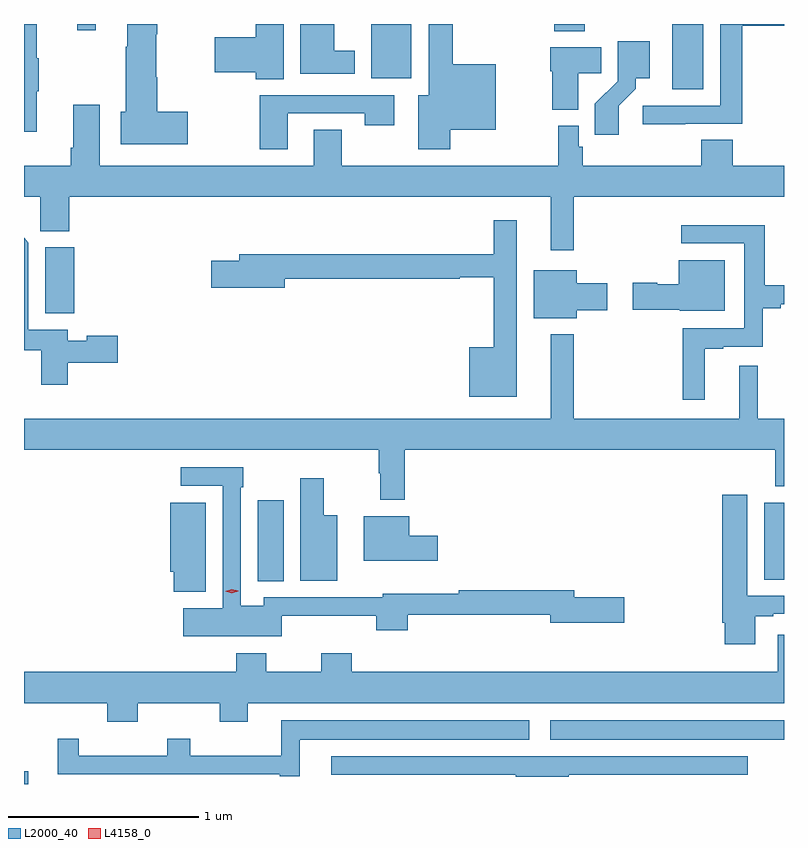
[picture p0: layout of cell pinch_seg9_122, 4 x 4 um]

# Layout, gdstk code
import gdstk
lib = gdstk.Library(unit=1e-6, precision=1e-09)
def R(c, l, rs):  # rectangles x0, y0, x1, y1
    for r in rs: c.add(gdstk.rectangle(r[:2], r[2:], *l))
def P(c, l, *ps):  # polygons
    for p in ps: c.add(gdstk.Polygon(p, *l))
L2000_40 = (2000, 40)
L4158_0 = (4158, 0)

pinch_seg9_122 = lib.new_cell('pinch_seg9_122')
R(pinch_seg9_122, L2000_40, [(817.697,1229.294,817.72,1229.362), (818.927,1230.361,819.064,1230.787), (821.594,1230.37,821.697,1230.775), (817.808,1231.771,817.961,1232.118), (821.108,1232.95,821.272,1233.294), (819.524,1233.008,819.736,1233.294), (820.487,1233.257,820.647,1233.294), (817.977,1233.261,818.074,1233.294)])
P(pinch_seg9_122, L2000_40, [(819.439,1233.154),(819.331,1233.154),(819.331,1233.294),(819.152,1233.294),(819.152,1233.032),(819.439,1233.032)],
  [(819.064,1233.294),(818.918,1233.294),(818.918,1233.224),(818.7,1233.224),(818.7,1233.041),(818.918,1233.041),(818.918,1233.004),(819.064,1233.004)],
  [(821.177,1232.769),(821.477,1232.769),(821.477,1233.286),(821.697,1233.286),(821.697,1233.294),(821.361,1233.294),(821.361,1232.865),(820.953,1232.865),(820.953,1232.767),(821.177,1232.767)],
  [(817.763,1232.939),(817.774,1232.939),(817.774,1233.113),(817.763,1233.113),(817.763,1233.294),(817.697,1233.294),(817.697,1232.727),(817.763,1232.727)],
  [(819.94,1232.738),(820.18,1232.738),(820.18,1233.082),(819.953,1233.082),(819.953,1233.294),(819.827,1233.294),(819.827,1232.92),(819.773,1232.92),(819.773,1232.634),(819.94,1232.634)],
  [(818.56,1232.831),(818.399,1232.831),(818.399,1233.014),(818.394,1233.014),(818.394,1233.24),(818.399,1233.24),(818.399,1233.294),(818.24,1233.294),(818.24,1233.173),(818.233,1233.173),(818.233,1232.831),(818.207,1232.831),(818.207,1232.66),(818.56,1232.66)],
  [(820.828,1232.863),(820.918,1232.953),(820.918,1233.008),(820.99,1233.008),(820.99,1233.202),(820.821,1233.202),(820.821,1232.993),(820.702,1232.874),(820.702,1232.712),(820.828,1232.712)],
  [(820.615,1233.034),(820.736,1233.034),(820.736,1233.172),(820.466,1233.172),(820.466,1233.045),(820.478,1233.045),(820.478,1232.843),(820.615,1232.843)],
  [(819.085,1232.823),(819.49,1232.823),(819.49,1232.76),(819.646,1232.76),(819.646,1232.919),(818.938,1232.919),(818.938,1232.634),(819.085,1232.634)],
  [(820.591,1232.384),(821.697,1232.384),(821.697,1232.548),(821.426,1232.548),(821.426,1232.684),(821.261,1232.684),(821.261,1232.548),(820.637,1232.548),(820.637,1232.649),(820.617,1232.649),(820.617,1232.758),(820.509,1232.758),(820.509,1232.548),(819.369,1232.548),(819.369,1232.738),(819.221,1232.738),(819.221,1232.548),(818.095,1232.548),(818.095,1232.869),(817.955,1232.869),(817.955,1232.644),(817.943,1232.644),(817.943,1232.548),(817.697,1232.548),(817.697,1232.384),(817.783,1232.384),(817.783,1232.203),(817.934,1232.203),(817.934,1232.384),(820.469,1232.384),(820.469,1232.103),(820.591,1232.103)],
  [(820.291,1232.26),(820.17,1232.26),(820.17,1232.083),(818.831,1232.083),(818.831,1232.049),(818.682,1232.049),(818.682,1231.907),(819.07,1231.907),(819.07,1231.954),(819.991,1231.954),(819.991,1231.962),(820.17,1231.962),(820.17,1231.594),(820.04,1231.594),(820.04,1231.331),(820.291,1231.331)],
  [(821.281,1231.584),(821.377,1231.584),(821.377,1231.596),(821.584,1231.596),(821.584,1231.798),(821.68,1231.798),(821.68,1231.818),(821.697,1231.818),(821.697,1231.919),(821.596,1231.919),(821.596,1232.236),(821.157,1232.236),(821.157,1232.139),(821.487,1232.139),(821.487,1231.692),(821.163,1231.692),(821.163,1231.317),(821.281,1231.317)],
  [(817.927,1231.51),(818.191,1231.51),(818.191,1231.654),(818.028,1231.654),(818.028,1231.627),(817.927,1231.627),(817.927,1231.686),(817.72,1231.686),(817.72,1232.144),(817.697,1232.168),(817.697,1231.578),(817.787,1231.578),(817.787,1231.395),(817.927,1231.395)],
  [(821.386,1232.05),(821.144,1232.05),(821.144,1231.924),(821.031,1231.924),(821.031,1231.932),(820.902,1231.932),(820.902,1231.79),(821.148,1231.79),(821.148,1231.784),(821.386,1231.784)],
  [(820.606,1231.787),(820.768,1231.787),(820.768,1231.929),(820.606,1231.929),(820.606,1231.999),(820.379,1231.999),(820.379,1231.745),(820.606,1231.745)],
  [(819.701,1231.052),(821.651,1231.052),(821.651,1230.86),(821.697,1230.86),(821.697,1231.216),(821.56,1231.216),(821.56,1231.495),(821.462,1231.495),(821.462,1231.216),(820.591,1231.216),(820.591,1231.66),(820.469,1231.66),(820.469,1231.216),(817.697,1231.216),(817.697,1231.052),(819.565,1231.052),(819.565,1230.929),(819.573,1230.929),(819.573,1230.789),(819.701,1230.789)],
  [(819.054,1230.179),(819.551,1230.179),(819.551,1230.104),(819.716,1230.104),(819.716,1230.186),(820.466,1230.186),(820.466,1230.143),(820.855,1230.143),(820.855,1230.278),(820.594,1230.278),(820.594,1230.314),(819.985,1230.314),(819.985,1230.295),(819.585,1230.295),(819.585,1230.276),(818.958,1230.276),(818.958,1230.232),(818.838,1230.232),(818.838,1230.857),(818.851,1230.857),(818.851,1230.96),(818.523,1230.96),(818.523,1230.864),(818.742,1230.864),(818.742,1230.22),(818.535,1230.22),(818.535,1230.071),(819.054,1230.071)],
  [(819.346,1230.709),(819.274,1230.709),(819.274,1230.904),(819.152,1230.904),(819.152,1230.365),(819.346,1230.365)],
  [(821.545,1230.177),(821.641,1230.177),(821.641,1230.189),(821.697,1230.189),(821.697,1230.285),(821.503,1230.285),(821.503,1230.817),(821.372,1230.817),(821.372,1230.142),(821.384,1230.142),(821.384,1230.03),(821.545,1230.03)],
  [(818.653,1230.775),(818.468,1230.775),(818.468,1230.411),(818.486,1230.411),(818.486,1230.305),(818.653,1230.305)],
  [(819.874,1230.6),(819.724,1230.6),(819.724,1230.703),(819.485,1230.703),(819.485,1230.47),(819.874,1230.47)],
  [(818.295,1229.72),(818.728,1229.72),(818.728,1229.621),(818.875,1229.621),(818.875,1229.72),(821.697,1229.72),(821.697,1230.079),(821.663,1230.079),(821.663,1229.884),(819.422,1229.884),(819.422,1229.983),(819.262,1229.983),(819.262,1229.884),(818.973,1229.884),(818.973,1229.983),(818.813,1229.983),(818.813,1229.884),(817.697,1229.884),(817.697,1229.72),(818.135,1229.72),(818.135,1229.621),(818.295,1229.621)],
  [(821.697,1229.629),(820.467,1229.629),(820.467,1229.528),(821.593,1229.528),(821.593,1229.526),(821.697,1229.526)],
  [(819.148,1229.528),(820.357,1229.528),(820.357,1229.629),(819.05,1229.629),(819.05,1229.443),(818.572,1229.443),(818.572,1229.533),(818.451,1229.533),(818.451,1229.443),(817.984,1229.443),(817.984,1229.533),(817.874,1229.533),(817.874,1229.346),(819.044,1229.346),(819.044,1229.334),(819.148,1229.334)],
  [(820.565,1229.343),(821.506,1229.343),(821.506,1229.439),(819.315,1229.439),(819.315,1229.343),(820.285,1229.343),(820.285,1229.331),(820.565,1229.331)])
P(pinch_seg9_122, L4158_0, [(818.791,1230.299),(818.756,1230.308),(818.756,1230.308),(818.756,1230.308),(818.79,1230.319),(818.825,1230.31),(818.825,1230.31),(818.825,1230.309)])

lib.write_gds('pinch_seg9_122.gds')
